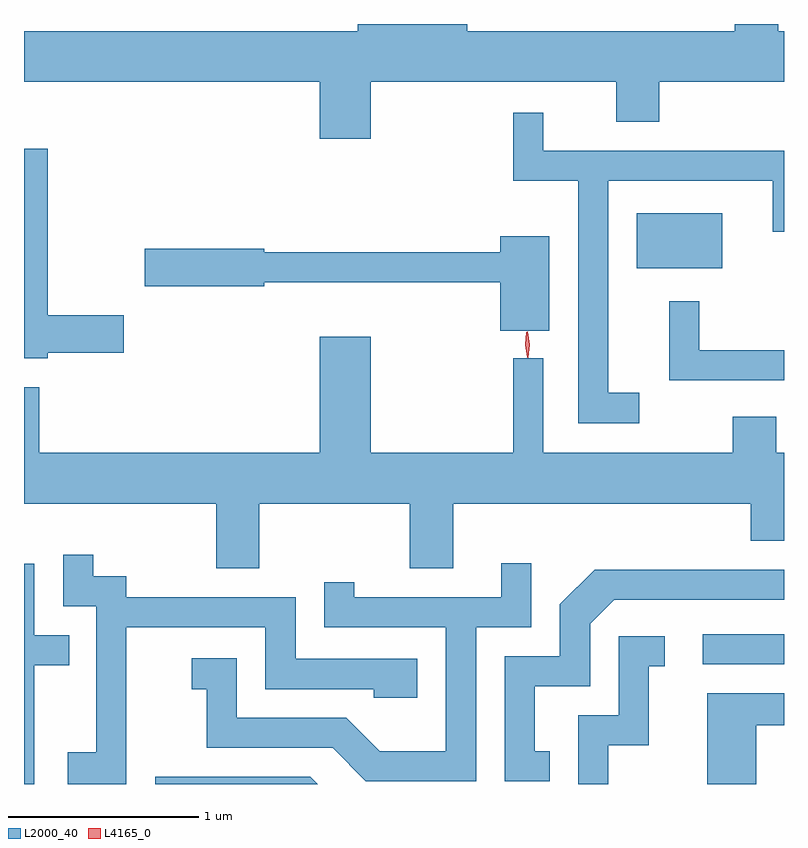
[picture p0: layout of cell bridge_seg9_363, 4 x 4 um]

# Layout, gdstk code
import gdstk
lib = gdstk.Library(unit=1e-6, precision=1e-09)
def R(c, l, rs):  # rectangles x0, y0, x1, y1
    for r in rs: c.add(gdstk.rectangle(r[:2], r[2:], *l))
def P(c, l, *ps):  # polygons
    for p in ps: c.add(gdstk.Polygon(p, *l))
L2000_40 = (2000, 40)
L4165_0 = (4165, 0)

bridge_seg9_363 = lib.new_cell('bridge_seg9_363')
R(bridge_seg9_363, L2000_40, [(996.313,1993.191,996.74,1993.349), (995.966,1995.276,996.414,1995.564)])
P(bridge_seg9_363, L2000_40, [(994.564,1996.256),(995.856,1996.256),(995.856,1996.046),(996.084,1996.046),(996.084,1996.256),(996.74,1996.256),(996.74,1996.524),(996.709,1996.524),(996.709,1996.561),(996.481,1996.561),(996.481,1996.524),(995.074,1996.524),(995.074,1996.561),(994.496,1996.561),(994.496,1996.524),(992.74,1996.524),(992.74,1996.256),(994.296,1996.256),(994.296,1995.956),(994.564,1995.956)],
  [(995.978,1994.619),(995.814,1994.619),(995.814,1995.736),(996.681,1995.736),(996.681,1995.468),(996.74,1995.468),(996.74,1995.894),(995.474,1995.894),(995.474,1996.093),(995.316,1996.093),(995.316,1995.736),(995.656,1995.736),(995.656,1994.461),(995.978,1994.461)],
  [(992.864,1994.831),(993.264,1994.831),(993.264,1995.029),(992.864,1995.029),(992.864,1995.904),(992.74,1995.904),(992.74,1994.801),(992.864,1994.801)],
  [(995.504,1995.444),(995.246,1995.444),(995.246,1995.359),(994.004,1995.359),(994.004,1995.379),(993.376,1995.379),(993.376,1995.181),(994.004,1995.181),(994.004,1995.201),(995.246,1995.201),(995.246,1994.946),(995.504,1994.946)],
  [(996.74,1994.844),(996.294,1994.844),(996.294,1995.103),(996.136,1995.103),(996.136,1994.686),(996.74,1994.686)],
  [(993.979,1994.036),(994.771,1994.036),(994.771,1993.696),(994.999,1993.696),(994.999,1994.036),(996.566,1994.036),(996.566,1993.841),(996.74,1993.841),(996.74,1994.304),(996.699,1994.304),(996.699,1994.494),(996.471,1994.494),(996.471,1994.304),(995.474,1994.304),(995.474,1994.803),(995.316,1994.803),(995.316,1994.304),(994.564,1994.304),(994.564,1994.914),(994.296,1994.914),(994.296,1994.304),(992.819,1994.304),(992.819,1994.649),(992.74,1994.649),(992.74,1994.036),(993.751,1994.036),(993.751,1993.696),(993.979,1993.696)],
  [(993.279,1993.386),(994.011,1993.386),(994.011,1993.061),(994.581,1993.061),(994.581,1993.016),(994.809,1993.016),(994.809,1993.219),(994.169,1993.219),(994.169,1993.544),(993.279,1993.544),(993.279,1993.654),(993.104,1993.654),(993.104,1993.768),(992.946,1993.768),(992.946,1993.496),(993.121,1993.496),(993.121,1992.729),(992.971,1992.729),(992.971,1992.561),(993.279,1992.561)],
  [(995.119,1993.386),(995.409,1993.386),(995.409,1993.723),(995.251,1993.723),(995.251,1993.544),(994.479,1993.544),(994.479,1993.623),(994.321,1993.623),(994.321,1993.386),(994.961,1993.386),(994.961,1992.734),(994.612,1992.734),(994.437,1992.909),(993.859,1992.909),(993.859,1993.224),(993.623,1993.224),(993.623,1993.061),(993.701,1993.061),(993.701,1992.751),(994.364,1992.751),(994.539,1992.576),(995.119,1992.576)],
  [(992.794,1993.186),(992.978,1993.186),(992.978,1993.344),(992.794,1993.344),(992.794,1993.719),(992.74,1993.719),(992.74,1992.561),(992.794,1992.561)],
  [(995.508,1992.734),(995.429,1992.734),(995.429,1993.076),(995.719,1993.076),(995.719,1993.404),(995.847,1993.531),(996.74,1993.531),(996.74,1993.689),(995.744,1993.689),(995.561,1993.507),(995.561,1993.234),(995.271,1993.234),(995.271,1992.576),(995.508,1992.576)],
  [(995.814,1992.766),(996.029,1992.766),(996.029,1993.181),(996.113,1993.181),(996.113,1993.339),(995.871,1993.339),(995.871,1992.924),(995.656,1992.924),(995.656,1992.561),(995.814,1992.561)],
  [(996.594,1992.871),(996.74,1992.871),(996.74,1993.039),(996.336,1993.039),(996.336,1992.561),(996.594,1992.561)],
  [(994.247,1992.599),(993.431,1992.599),(993.431,1992.561),(994.285,1992.561)])
P(bridge_seg9_363, L4165_0, [(995.389,1994.808),(995.377,1994.873),(995.384,1994.939),(995.385,1994.939),(995.385,1994.939),(995.397,1994.874),(995.39,1994.808),(995.39,1994.808)],
  [(995.392,1994.805),(995.392,1994.805),(995.381,1994.874),(995.389,1994.942),(995.39,1994.942),(995.39,1994.942),(995.401,1994.874),(995.393,1994.805)])

lib.write_gds('bridge_seg9_363.gds')
